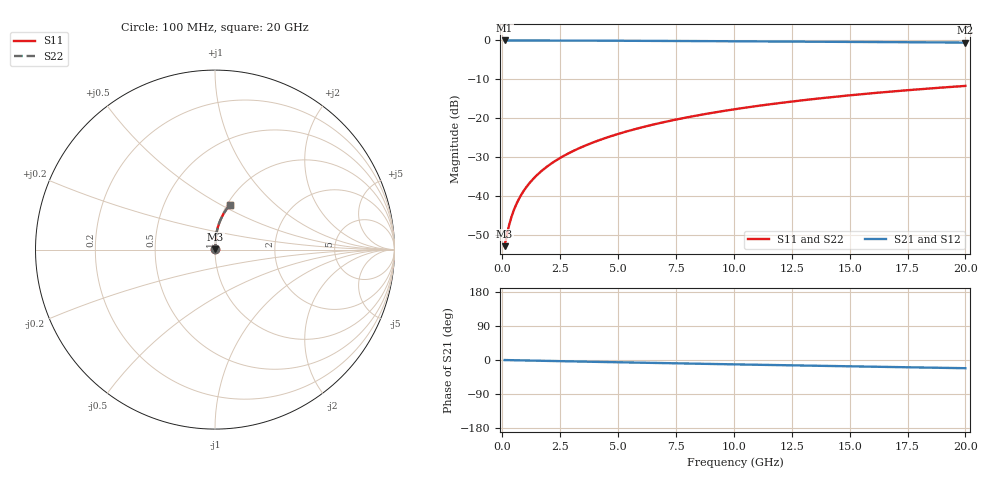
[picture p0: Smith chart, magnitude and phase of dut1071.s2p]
! Touchstone file exported from HFSS 2024.1.0
!  File:  C:/UserFiles/LocalFiles/RDL_TSV_Batchsim/temp_RDL_top_1071_1780045215.aedt
!  Generated:  05:02:34 PM May 29, 2026
!  Design:  RDL_top
!  Project:  temp_RDL_top_1071_1780045215
!  Setup:  Setup1
!  Solution:  Sweep
! Variables:
!  dtsv = 10.80580581um
!  hbump = 3um
!  htsv = 68.6um
!  ldown = 100um
!  lrdl = 239.22um
!  p = 40
!  p1 = 56.02um
!  rhole = 1um
!  t = 450um
!  tdown = 3.915915916um
!  trdl = 2.74um
!  wdown = 15.38538539um
!  wrdl = 19.31um
# GHz S MA R 50.000000
! Terminal data exported
! Port[1] = Box2_T1
! Port[2] = Box2_T2
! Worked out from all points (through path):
!   200 points, 100 MHz to 20 GHz, reference 50 ohm
!   highest |S21| = -0.02 dB at 100 MHz (marker M1); lowest = -0.6 dB at 20 GHz (marker M2)
!   group delay of S21, straight-line fit = 2.99 ps
!   lowest |S11| = -52.9 dB at 100 MHz (marker M3), VSWR 1.00, Z = 50.2 + j0.13 ohm
!   |S11| at or under -10 dB: start of sweep to end of sweep
!   |S22| runs from -52.9 to -11.7 dB; largest |S21 - S12| = 3.1e-15
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0.1  0.002274 34.9  0.9981 -0.1  0.9981 -0.1  0.002274 34.9
! Gamma 0 0 0 0
! Port Impedance 50 0 50 0
0.2  0.00321 53.4  0.9981 -0.3  0.9981 -0.3  0.00321 53.4
0.3  0.004305 62.8  0.998 -0.4  0.998 -0.4  0.004305 62.8
0.4  0.00545 68.3  0.9979 -0.5  0.9979 -0.5  0.00545 68.3
0.5  0.006616 71.9  0.9978 -0.6  0.9978 -0.6  0.006616 71.9
0.6  0.007794 74.4  0.9978 -0.7  0.9978 -0.7  0.007794 74.4
0.8  0.01017 77.8  0.9976 -1.0  0.9976 -1.0  0.01017 77.8
1.1  0.01378 80.7  0.9973 -1.4  0.9973 -1.4  0.01378 80.7
1.5  0.01864 82.9  0.9969 -1.8  0.9969 -1.8  0.01864 82.9
1.8  0.0223 83.8  0.9966 -2.2  0.9966 -2.2  0.0223 83.8
2.1  0.02599 84.5  0.9962 -2.6  0.9962 -2.6  0.02599 84.5
2.7  0.03343 85.4  0.9953 -3.3  0.9953 -3.3  0.03343 85.4
3.5  0.0435 85.9  0.9937 -4.2  0.9937 -4.2  0.0435 85.9
4.2  0.05245 86.1  0.9922 -5.1  0.9922 -5.1  0.05245 86.1
5  0.06284 86.0  0.9901 -6.0  0.9901 -6.0  0.06284 86.0
5.9  0.07471 85.7  0.9876 -7.0  0.9876 -7.0  0.07471 85.7
6.8  0.08673 85.1  0.985 -8.0  0.985 -8.0  0.08673 85.1
8.4  0.1083 83.9  0.9799 -9.8  0.9799 -9.8  0.1083 83.9
10.1  0.1314 82.3  0.9742 -11.6  0.9742 -11.6  0.1314 82.3
13.4  0.1758 78.9  0.9626 -15.1  0.9626 -15.1  0.1758 78.9
16.7  0.219 75.4  0.9502 -18.4  0.9502 -18.4  0.219 75.4
20  0.2603 71.9  0.9371 -21.7  0.9371 -21.7  0.2603 71.9
